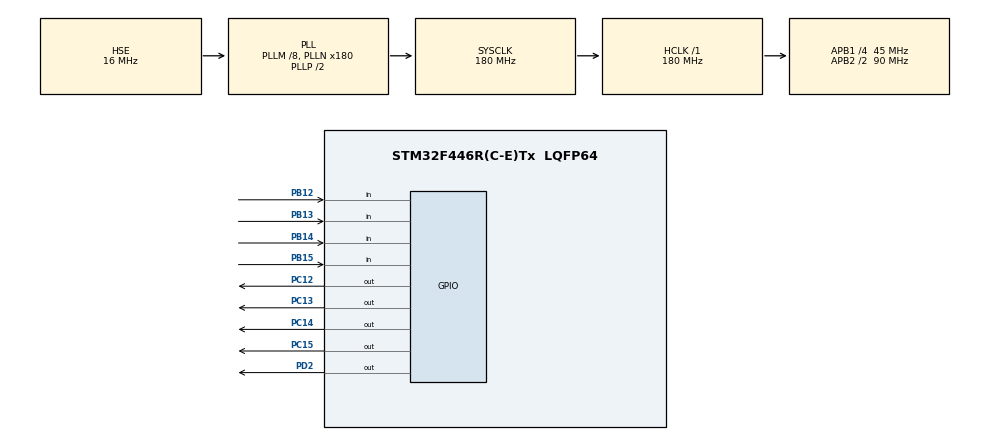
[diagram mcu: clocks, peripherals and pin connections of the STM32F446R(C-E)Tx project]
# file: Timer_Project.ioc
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Mcu.Family=STM32F4
Mcu.Name=STM32F446R(C-E)Tx
Mcu.Package=LQFP64
NVIC.PriorityGroup=NVIC_PRIORITYGROUP_4
NVIC.TIM6_DAC_IRQn=true\:0\:0\:false\:false\:true\:true\:true\:true
PA13.Mode=Serial_Wire
PA13.Signal=SYS_JTMS-SWDIO
PA14.Mode=Serial_Wire
PA14.Signal=SYS_JTCK-SWCLK
PB12.Signal=GPIO_Input
PB13.Signal=GPIO_Input
PB14.Signal=GPIO_Input
PB15.Signal=GPIO_Input
PC12.Signal=GPIO_Output
PC13.Signal=GPIO_Output
PC14-OSC32_IN.Signal=GPIO_Output
PC15-OSC32_OUT.Signal=GPIO_Output
PD2.Signal=GPIO_Output
PH0-OSC_IN.Mode=HSE-External-Oscillator
PH0-OSC_IN.Signal=RCC_OSC_IN
PH1-OSC_OUT.Mode=HSE-External-Oscillator
PH1-OSC_OUT.Signal=RCC_OSC_OUT
ProjectManager.HeapSize=0x200
ProjectManager.StackSize=0x400
ProjectManager.TargetToolchain=STM32CubeIDE
RCC.AHBFreq_Value=180000000
RCC.APB1CLKDivider=RCC_HCLK_DIV4
RCC.APB1Freq_Value=45000000
RCC.APB1TimFreq_Value=90000000
RCC.APB2CLKDivider=RCC_HCLK_DIV2
RCC.APB2Freq_Value=90000000
RCC.APB2TimFreq_Value=180000000
RCC.CortexFreq_Value=180000000
RCC.HCLKFreq_Value=180000000
RCC.HSE_VALUE=16000000
RCC.PLLM=8
RCC.PLLN=180
RCC.PLLSourceVirtual=RCC_PLLSOURCE_HSE
RCC.SYSCLKFreq_VALUE=180000000
RCC.SYSCLKSource=RCC_SYSCLKSOURCE_PLLCLK
RCC.USBFreq_Value=180000000
RCC.VCOOutputFreq_Value=360000000
TIM6.Period=5000-1
TIM6.Prescaler=4500-1
VP_TIM6_VS_ClockSourceINT.Mode=Enable_Timer
board=custom

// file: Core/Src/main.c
/* USER CODE BEGIN Header */
/**
  ******************************************************************************
  * @file           : main.c
  * @brief          : Main program body
  ******************************************************************************
  * @attention
  *
  * Copyright (c) 2024 STMicroelectronics.
  * All rights reserved.
  *
  * This software is licensed under terms that can be found in the LICENSE file
  * in the root directory of this software component.
  * If no LICENSE file comes with this software, it is provided AS-IS.
  *
  ******************************************************************************
  */
/* USER CODE END Header */
#include "main.h"
#include "tim.h"
#include "gpio.h"

/* USER CODE BEGIN PV */
	uint32_t count = 0;
/* USER CODE END PV */

void SystemClock_Config(void);

int main(void)
{

  /* MCU Configuration--------------------------------------------------------*/

  /* Reset of all peripherals, Initializes the Flash interface and the Systick. */
  HAL_Init();

  /* Configure the system clock */
  SystemClock_Config();

  /* Initialize all configured peripherals */
  MX_GPIO_Init();
  MX_TIM6_Init();
  /* USER CODE BEGIN 2 */
  HAL_TIM_Base_Start_IT(&htim6);
  /* USER CODE END 2 */

  /* Infinite loop */
  while (1)
  {

  }
}

void SystemClock_Config(void)
{
  RCC_OscInitTypeDef RCC_OscInitStruct = {0};
  RCC_ClkInitTypeDef RCC_ClkInitStruct = {0};

  /** Configure the main internal regulator output voltage
  */
  __HAL_RCC_PWR_CLK_ENABLE();
  __HAL_PWR_VOLTAGESCALING_CONFIG(PWR_REGULATOR_VOLTAGE_SCALE1);

  /** Initializes the RCC Oscillators according to the specified parameters
  * in the RCC_OscInitTypeDef structure.
  */
  RCC_OscInitStruct.OscillatorType = RCC_OSCILLATORTYPE_HSE;
  RCC_OscInitStruct.HSEState = RCC_HSE_ON;
  RCC_OscInitStruct.PLL.PLLState = RCC_PLL_ON;
  RCC_OscInitStruct.PLL.PLLSource = RCC_PLLSOURCE_HSE;
  RCC_OscInitStruct.PLL.PLLM = 8;
  RCC_OscInitStruct.PLL.PLLN = 180;
  RCC_OscInitStruct.PLL.PLLP = RCC_PLLP_DIV2;
  RCC_OscInitStruct.PLL.PLLQ = 2;
  RCC_OscInitStruct.PLL.PLLR = 2;
  if (HAL_RCC_OscConfig(&RCC_OscInitStruct) != HAL_OK)
  {
    Error_Handler();
  }

  /** Activate the Over-Drive mode
  */
  if (HAL_PWREx_EnableOverDrive() != HAL_OK)
  {
    Error_Handler();
  }

  /** Initializes the CPU, AHB and APB buses clocks
  */
  RCC_ClkInitStruct.ClockType = RCC_CLOCKTYPE_HCLK|RCC_CLOCKTYPE_SYSCLK
                              |RCC_CLOCKTYPE_PCLK1|RCC_CLOCKTYPE_PCLK2;
  RCC_ClkInitStruct.SYSCLKSource = RCC_SYSCLKSOURCE_PLLCLK;
  RCC_ClkInitStruct.AHBCLKDivider = RCC_SYSCLK_DIV1;
  RCC_ClkInitStruct.APB1CLKDivider = RCC_HCLK_DIV4;
  RCC_ClkInitStruct.APB2CLKDivider = RCC_HCLK_DIV2;

  if (HAL_RCC_ClockConfig(&RCC_ClkInitStruct, FLASH_LATENCY_5) != HAL_OK)
  {
    Error_Handler();
  }
}

/* USER CODE BEGIN 4 */
void HAL_TIM_PeriodElapsedCallback(TIM_HandleTypeDef *htim)
{
	uint32_t readPin12 = HAL_GPIO_ReadPin(GPIOB, GPIO_PIN_12);
	uint32_t readPin13 = HAL_GPIO_ReadPin(GPIOB, GPIO_PIN_13);
	uint32_t readPin14 = HAL_GPIO_ReadPin(GPIOB, GPIO_PIN_14);
	uint32_t readPin15 = HAL_GPIO_ReadPin(GPIOB, GPIO_PIN_15);
	if(htim->Instance == TIM6)
	{
		count++;
		if(count == 2)
		{
			HAL_GPIO_TogglePin(GPIOD, GPIO_PIN_2);
			count = 0;
		}
		if(readPin12 == 0)
			HAL_GPIO_TogglePin(GPIOC, GPIO_PIN_12);
		else if(readPin12 == 1)
			HAL_GPIO_WritePin(GPIOC, GPIO_PIN_12, 1);
		if(readPin13 == 0)
			HAL_GPIO_TogglePin(GPIOC, GPIO_PIN_13);
		else if(readPin13 == 1)
			HAL_GPIO_WritePin(GPIOC, GPIO_PIN_13, 1);
		if(readPin14 == 0)
			HAL_GPIO_TogglePin(GPIOC, GPIO_PIN_14);
		else if(readPin14 == 1)
			HAL_GPIO_WritePin(GPIOC, GPIO_PIN_14, 1);
		if(readPin15 == 0)
			HAL_GPIO_TogglePin(GPIOC, GPIO_PIN_15);
		else if(readPin15 == 1)
			HAL_GPIO_WritePin(GPIOC, GPIO_PIN_15, 1);

	}

}
/* USER CODE END 4 */

void Error_Handler(void)
{
  __disable_irq();
  while (1)
  {
  }
}
